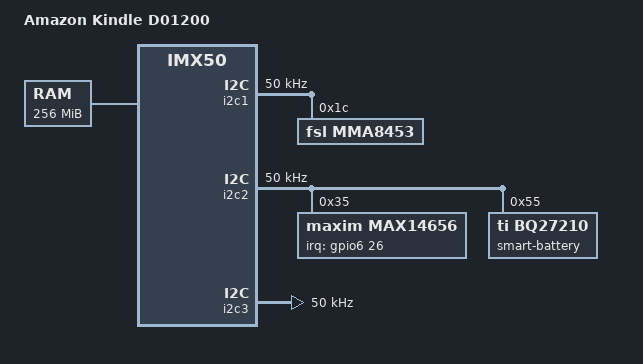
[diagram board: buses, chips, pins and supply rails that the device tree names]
/*
 * Copyright 2017 Alexander Kurz <akurz@blala.de>
 *
 * The code contained herein is licensed under the GNU General Public
 * License. You may obtain a copy of the GNU General Public License
 * Version 2 or later at the following locations:
 *
 * http://www.opensource.org/licenses/gpl-license.html
 * http://www.gnu.org/copyleft/gpl.html
 */

/dts-v1/;
#include "imx50-kindle-common.dtsi"
#include <dt-bindings/interrupt-controller/irq.h>
#include <dt-bindings/gpio/gpio.h>
#include <dt-bindings/input/input.h>

/ {
	model = "Amazon Kindle D01200";
	compatible = "amazon,kindle-d01200", "fsl,imx50";

	chosen {
		linux,stdout-path = &uart1;
	};

	memory {
		device_type = "memory";
		reg = <0x70000000 0x10000000>;
	};
};

&iomuxc {
	pinctrl-names = "default";
	pinctrl-0 = <&pinctrl_hog>;

	imx50-kindle-d01200 {
		pinctrl_hog: hoggrp {
			fsl,pins = <
				MX50_PAD_EIM_DA0__GPIO1_0	0xc0
				MX50_PAD_SSI_RXC__GPIO6_5	0x84
			>;
		};
	};
};

&i2c1 {
	clock-frequency = <50000>;
	pinctrl-names = "default";
	pinctrl-0 = <&pinctrl_i2c1>;
	status = "okay";

	mma8453: mma8453@1c {
		compatible = "fsl,mma8453";
		reg = <0x1c>;
	};
};

&i2c2 {
	clock-frequency = <50000>;
	pinctrl-names = "default";
	pinctrl-0 = <&pinctrl_i2c2>;
	status = "okay";

	max14656@35 {
		compatible = "maxim,max14656";
		reg = <0x35>;
		pinctrl-names = "default";
		pinctrl-0 = <&pinctrl_charger_detect>;
		interrupt-parent = <&gpio6>;
		interrupts = <26 IRQ_TYPE_LEVEL_HIGH>;
	};

	smart-battery@55 {
		compatible = "ti,bq27210";
		reg = <0x55>;
		ti,i2c-retry-count = <2>;
		ti,poll-retry-count = <10>;
	};
};

&i2c3 {
	clock-frequency = <50000>;
	pinctrl-names = "default";
	pinctrl-0 = <&pinctrl_i2c3>;
	status = "okay";
};
